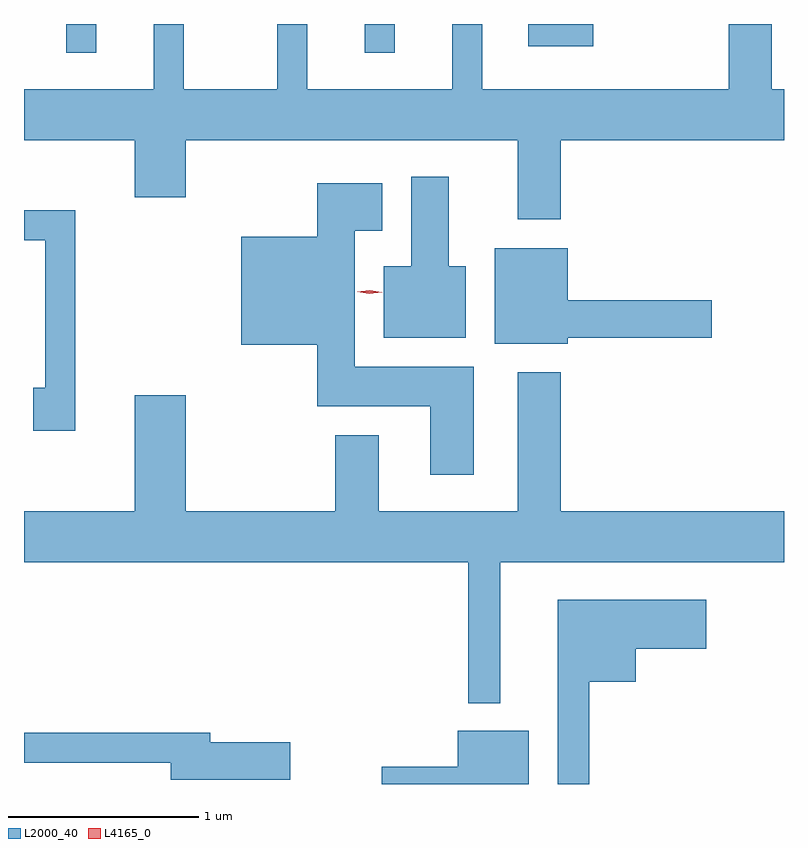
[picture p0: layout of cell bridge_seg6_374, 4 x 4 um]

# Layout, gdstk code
import gdstk
lib = gdstk.Library(unit=1e-6, precision=1e-09)
def R(c, l, rs):  # rectangles x0, y0, x1, y1
    for r in rs: c.add(gdstk.rectangle(r[:2], r[2:], *l))
def P(c, l, *ps):  # polygons
    for p in ps: c.add(gdstk.Polygon(p, *l))
L2000_40 = (2000, 40)
L4165_0 = (4165, 0)

bridge_seg6_374 = lib.new_cell('bridge_seg6_374')
R(bridge_seg6_374, L2000_40, [(953.976,1641.518,954.134,1641.668), (955.546,1641.518,955.704,1641.668), (956.406,1641.551,956.749,1641.668)])
P(bridge_seg6_374, L2000_40, [(956.579,1641.056),(957.753,1641.056),(957.753,1641.324),(957.689,1641.324),(957.689,1641.668),(957.461,1641.668),(957.461,1641.324),(956.164,1641.324),(956.164,1641.668),(956.006,1641.668),(956.006,1641.324),(955.244,1641.324),(955.244,1641.668),(955.086,1641.668),(955.086,1641.324),(954.594,1641.324),(954.594,1641.668),(954.436,1641.668),(954.436,1641.324),(953.753,1641.324),(953.753,1641.056),(954.336,1641.056),(954.336,1640.756),(954.604,1640.756),(954.604,1641.056),(956.351,1641.056),(956.351,1640.641),(956.579,1640.641)],
  [(956.079,1640.394),(955.989,1640.394),(955.989,1640.864),(955.791,1640.864),(955.791,1640.394),(955.646,1640.394),(955.646,1640.016),(956.079,1640.016)],
  [(956.119,1639.864),(955.494,1639.864),(955.494,1640.581),(955.639,1640.581),(955.639,1640.829),(955.296,1640.829),(955.296,1640.549),(954.896,1640.549),(954.896,1639.981),(955.296,1639.981),(955.296,1639.656),(955.891,1639.656),(955.891,1639.296),(956.119,1639.296)],
  [(954.024,1640.689),(953.753,1640.689),(953.753,1640.531),(953.866,1640.531),(953.866,1639.754),(953.801,1639.754),(953.801,1639.526),(954.024,1639.526)],
  [(956.614,1640.016),(957.374,1640.016),(957.374,1640.214),(956.614,1640.214),(956.614,1640.489),(956.231,1640.489),(956.231,1639.986),(956.614,1639.986)],
  [(956.259,1638.836),(957.753,1638.836),(957.753,1639.104),(956.579,1639.104),(956.579,1639.834),(956.351,1639.834),(956.351,1639.104),(955.619,1639.104),(955.619,1639.504),(955.391,1639.504),(955.391,1639.104),(954.604,1639.104),(954.604,1639.714),(954.336,1639.714),(954.336,1639.104),(953.753,1639.104),(953.753,1638.836),(956.091,1638.836),(956.091,1638.093),(956.259,1638.093)],
  [(956.729,1638.206),(956.974,1638.206),(956.974,1638.381),(957.344,1638.381),(957.344,1638.639),(956.561,1638.639),(956.561,1637.668),(956.729,1637.668)],
  [(956.409,1637.949),(956.036,1637.949),(956.036,1637.759),(955.636,1637.759),(955.636,1637.668),(956.409,1637.668)],
  [(955.154,1637.889),(954.734,1637.889),(954.734,1637.939),(953.753,1637.939),(953.753,1637.781),(954.526,1637.781),(954.526,1637.691),(955.154,1637.691)])
P(bridge_seg6_374, L4165_0, [(955.571,1640.247),(955.506,1640.258),(955.505,1640.258),(955.506,1640.259),(955.572,1640.267),(955.637,1640.257),(955.638,1640.256),(955.637,1640.256)])

lib.write_gds('bridge_seg6_374.gds')
